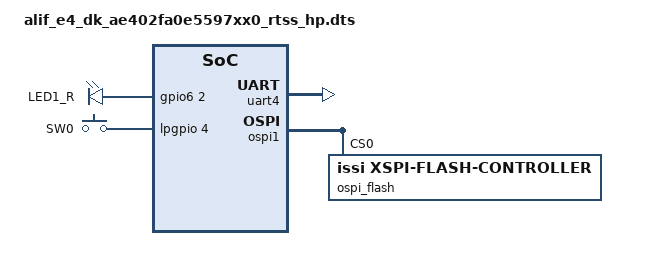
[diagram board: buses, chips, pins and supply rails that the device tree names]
/* Copyright (c) 2025 Alif Semiconductor
 *
 * SPDX-License-Identifier: Apache-2.0
 */

/dts-v1/;

#include <alif/ensemble/e4/ae402fa0e5597xx0.dtsi>
#include <alif/ensemble/common/ensemble_rtss_hp.dtsi>
#include "../common/ensemble-e4-e6-e8-pinctrl.dtsi"

/ {
	compatible = "arm,alif-e4-dk-ae402fa0e5597xx0-rtss-hp";
	#address-cells = <1>;
	#size-cells = <1>;

	chosen {
		zephyr,flash = &mram_storage;
		zephyr,code-partition = &slot0_partition;
		zephyr,sram = &dtcm;
		zephyr,console = &uart4;
		zephyr,shell-uart = &uart4;
		zephyr,uart-mcumgr = &uart4;
	};

	aliases {
		led0 = &aled0;
		sw0 = &button0;
		watchdog0 = &wdog0;
		rtsshemhu0r = &rtsshp_rtsshe_mhu0_r;
		rtsshemhu0s = &rtsshe_rtsshp_mhu0_s;
		rtsshemhu1r = &rtsshp_rtsshe_mhu1_r;
		rtsshemhu1s = &rtsshe_rtsshp_mhu1_s;
	};

	leds {
		compatible = "gpio-leds";

		aled0: led_0 {
			gpios = <&gpio6 2 0>;
			label = "LED1_R";
		};
	};
	buttons {
		compatible = "gpio-keys";

		button0: button_0 {
			gpios = < &lpgpio 4 0 >;
			label = "SW0";
		};
	};
};

&lpgpio {
	status = "okay";
};

&gpio6 {
	status = "okay";
};

&uart4 {
	status = "okay";
};

&ospi1 {
	/* External Flash on OSPI */
	ospi_flash: ospi_flash@0 {
		compatible = "issi,xspi-flash-controller";
		reg = <0x0>;
		erase-value = <0xff>;
		num-of-sector = <16384>;
		page-size = <4096>;
		sector-size = <4096>;
		write-block-size = <2>;

		/* Flash Size 64MB */
		#address-cells = <1>;
		#size-cells = <1>;

		flash_storage: flash_storage@0 {
			compatible = "soc-nv-flash";
			reg = <0x0 DT_SIZE_M(64)>;
			erase-block-size = <DT_SIZE_K(4)>;
			write-block-size = <2>;
		};
	};
};
